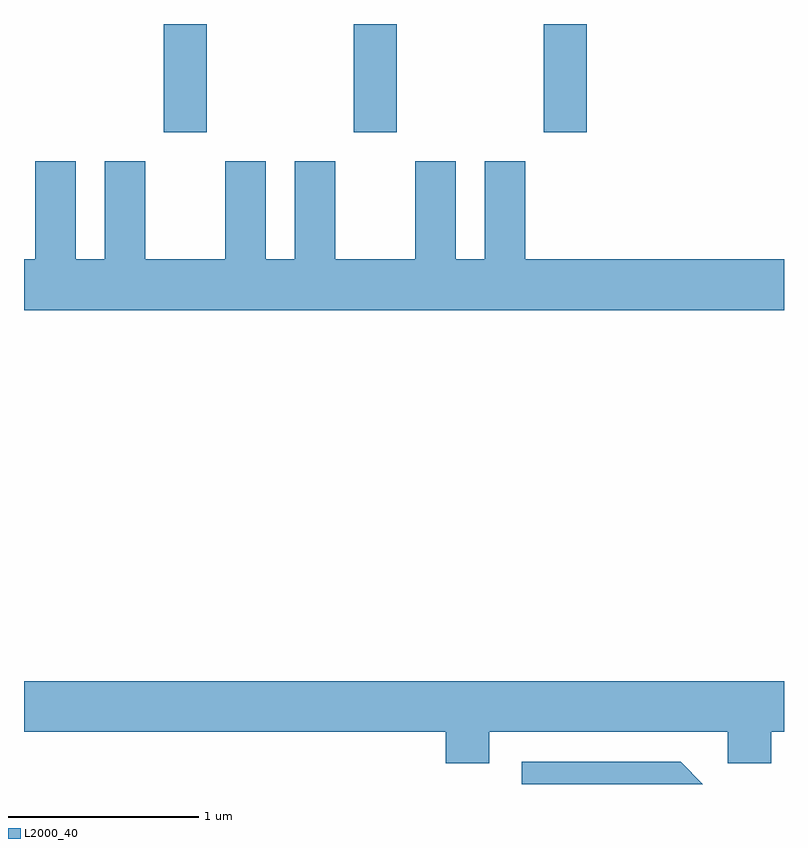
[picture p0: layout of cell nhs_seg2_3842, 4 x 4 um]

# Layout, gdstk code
import gdstk
lib = gdstk.Library(unit=1e-6, precision=1e-09)
def R(c, l, rs):  # rectangles x0, y0, x1, y1
    for r in rs: c.add(gdstk.rectangle(r[:2], r[2:], *l))
def A(c, l, x, y, w, h, nx, ny, dx, dy):  # array of equal rectangles
    R(c, l, [(x+i*dx, y+j*dy, x+i*dx+w, y+j*dy+h) for i in range(nx) for j in range(ny)])
def P(c, l, *ps):  # polygons
    for p in ps: c.add(gdstk.Polygon(p, *l))
L2000_40 = (2000, 40)

nhs_seg2_3842 = lib.new_cell('nhs_seg2_3842')
A(nhs_seg2_3842, L2000_40, 298.346, 1069.231, 0.228, 0.571, 3, 1, 1, 0)
P(nhs_seg2_3842, L2000_40, [(301.611,1068.564),(300.249,1068.564),(300.249,1069.079),(300.036,1069.079),(300.036,1068.564),(299.884,1068.564),(299.884,1069.079),(299.671,1069.079),(299.671,1068.564),(299.249,1068.564),(299.249,1069.079),(299.036,1069.079),(299.036,1068.564),(298.884,1068.564),(298.884,1069.079),(298.671,1069.079),(298.671,1068.564),(298.249,1068.564),(298.249,1069.079),(298.036,1069.079),(298.036,1068.564),(297.884,1068.564),(297.884,1069.079),(297.671,1069.079),(297.671,1068.564),(297.611,1068.564),(297.611,1068.296),(301.611,1068.296)],
  [(300.059,1066.076),(301.316,1066.076),(301.316,1065.911),(301.544,1065.911),(301.544,1066.076),(301.611,1066.076),(301.611,1066.344),(297.611,1066.344),(297.611,1066.076),(299.831,1066.076),(299.831,1065.911),(300.059,1065.911)],
  [(301.067,1065.919),(300.231,1065.919),(300.231,1065.802),(301.184,1065.802)])

lib.write_gds('nhs_seg2_3842.gds')
